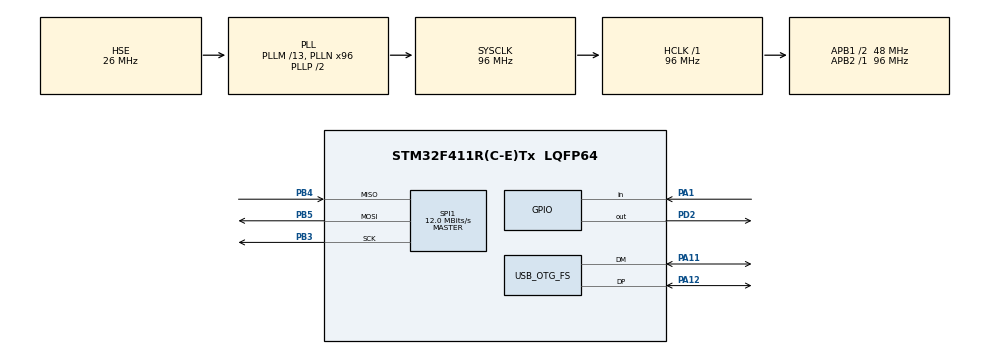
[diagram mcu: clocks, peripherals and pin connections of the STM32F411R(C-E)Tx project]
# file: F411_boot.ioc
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Mcu.Family=STM32F4
Mcu.Name=STM32F411R(C-E)Tx
Mcu.Package=LQFP64
NVIC.OTG_FS_IRQn=true\:0\:0\:false\:false\:true
NVIC.PriorityGroup=NVIC_PRIORITYGROUP_4
PA1.GPIO_PuPd=GPIO_PULLDOWN
PA1.Signal=GPIO_Input
PA11.Mode=Device_Only
PA11.Signal=USB_OTG_FS_DM
PA12.Mode=Device_Only
PA12.Signal=USB_OTG_FS_DP
PA13.Mode=Serial_Wire
PA13.Signal=SYS_JTMS-SWDIO
PA14.Mode=Serial_Wire
PA14.Signal=SYS_JTCK-SWCLK
PB3.Mode=Full_Duplex_Master
PB3.Signal=SPI1_SCK
PB4.Mode=Full_Duplex_Master
PB4.Signal=SPI1_MISO
PB5.Mode=Full_Duplex_Master
PB5.Signal=SPI1_MOSI
PD2.Signal=GPIO_Output
PH0\ -\ OSC_IN.Mode=HSE-External-Oscillator
PH0\ -\ OSC_IN.Signal=RCC_OSC_IN
PH1\ -\ OSC_OUT.Mode=HSE-External-Oscillator
PH1\ -\ OSC_OUT.Signal=RCC_OSC_OUT
ProjectManager.HeapSize=0x1200
ProjectManager.StackSize=0x1400
ProjectManager.TargetToolchain=MDK-ARM V5
RCC.48MHZClocksFreq_Value=48000000
RCC.AHBFreq_Value=96000000
RCC.APB1CLKDivider=RCC_HCLK_DIV2
RCC.APB1Freq_Value=48000000
RCC.APB1TimFreq_Value=96000000
RCC.APB2Freq_Value=96000000
RCC.APB2TimFreq_Value=96000000
RCC.CortexFreq_Value=96000000
RCC.HCLKFreq_Value=96000000
RCC.HSE_VALUE=26000000
RCC.HSI_VALUE=16000000
RCC.LSE_VALUE=32768
RCC.PLLM=13
RCC.PLLN=96
RCC.SYSCLKFreq_VALUE=96000000
RCC.SYSCLKSource=RCC_SYSCLKSOURCE_PLLCLK
RCC.VCOOutputFreq_Value=192000000
SPI1.BaudRatePrescaler=SPI_BAUDRATEPRESCALER_8
SPI1.CalculateBaudRate=12.0 MBits/s
SPI1.Mode=SPI_MODE_MASTER
USB_DEVICE.MSC_MEDIA_PACKET=4096
USB_DEVICE.USBD_HandleTypeDef=hUsbDeviceFS
USB_DEVICE.VirtualMode=Msc
USB_DEVICE.VirtualModeFS=Msc_FS
USB_OTG_FS.VirtualMode=Device_Only
USB_OTG_FS.vbus_sensing_enable=DISABLE
VP_CRC_VS_CRC.Mode=CRC_Activate
VP_USB_DEVICE_VS_USB_DEVICE_MSC_FS.Mode=MSC_FS
board=F411_boot

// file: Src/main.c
/**
  ******************************************************************************
  * File Name          : main.c
  * Description        : Main program body
  ******************************************************************************
  *
  * Copyright (c) 2016 STMicroelectronics International N.V.
  * All rights reserved.
  *
  * Redistribution and use in source and binary forms, with or without
  * modification, are permitted, provided that the following conditions are met:
  *
  * 1. Redistribution of source code must retain the above copyright notice,
  *    this list of conditions and the following disclaimer.
  * 2. Redistributions in binary form must reproduce the above copyright notice,
  *    this list of conditions and the following disclaimer in the documentation
  *    and/or other materials provided with the distribution.
  * 3. Neither the name of STMicroelectronics nor the names of other
  *    contributors to this software may be used to endorse or promote products
  *    derived from this software without specific written permission.
  * 4. This software, including modifications and/or derivative works of this
  *    software, must execute solely and exclusively on microcontroller or
  *    microprocessor devices manufactured by or for STMicroelectronics.
  * 5. Redistribution and use of this software other than as permitted under
  *    this license is void and will automatically terminate your rights under
  *    this license.
  *
  * THIS SOFTWARE IS PROVIDED BY STMICROELECTRONICS AND CONTRIBUTORS "AS IS"
  * AND ANY EXPRESS, IMPLIED OR STATUTORY WARRANTIES, INCLUDING, BUT NOT
  * LIMITED TO, THE IMPLIED WARRANTIES OF MERCHANTABILITY, FITNESS FOR A
  * PARTICULAR PURPOSE AND NON-INFRINGEMENT OF THIRD PARTY INTELLECTUAL PROPERTY
  * RIGHTS ARE DISCLAIMED TO THE FULLEST EXTENT PERMITTED BY LAW. IN NO EVENT
  * SHALL STMICROELECTRONICS OR CONTRIBUTORS BE LIABLE FOR ANY DIRECT, INDIRECT,
  * INCIDENTAL, SPECIAL, EXEMPLARY, OR CONSEQUENTIAL DAMAGES (INCLUDING, BUT NOT
  * LIMITED TO, PROCUREMENT OF SUBSTITUTE GOODS OR SERVICES; LOSS OF USE, DATA,
  * OR PROFITS; OR BUSINESS INTERRUPTION) HOWEVER CAUSED AND ON ANY THEORY OF
  * LIABILITY, WHETHER IN CONTRACT, STRICT LIABILITY, OR TORT (INCLUDING
  * NEGLIGENCE OR OTHERWISE) ARISING IN ANY WAY OUT OF THE USE OF THIS SOFTWARE,
  * EVEN IF ADVISED OF THE POSSIBILITY OF SUCH DAMAGE.
  *
  ******************************************************************************
  */
#include "main.h"
#include "stm32f4xx_hal.h"
#include "usb_device.h"

CRC_HandleTypeDef hcrc;

SPI_HandleTypeDef hspi1;

/* USER CODE BEGIN PV */
/* Private variables ---------------------------------------------------------*/
//volatile static const uint16_t compile_date[] = { 2016, 9, 12 };
volatile static const char compile_version[] = "2.2.4";
volatile static const char compile_date[12] = __DATE__;
volatile static const char compile_time[10] = __TIME__;
volatile static const char device_descriptor[] = { "BOOTER F411" };
#include "board.h"
#include "debug.h"
#include "ff.h"
FIL file_test;
FRESULT result;
FATFS FATFS_obj;
uint32_t str_size;
static const char file_patch[] = "ADC_RAW_DATA.bin";
char _str[128];
uint8_t ch[256] = {"HELL\r\n"};
uint32_t tmpu32 = 0;
UINT frcnt, fwcnt;         // счетчик записи файла
uint32_t ready_to_close = 0;
//for debug
uint32_t test_core_ticks_new, test_core_ticks_old = 0;
uint32_t test_total_time_remain = 0;

#define DRIVE_LABEL_OFFSET (0x2000)
uint8_t driveName[11] = "BOOT_LOADER";
uint32_t pageBuf[512];

/*
 * Variables for all file systems and file objects
 */
FRESULT	FATFS_Status = FR_NOT_READY, FILE_Status = FR_NO_FILE;
FATFS	FATFS_Obj;
UINT	readBytes;

/*
 * Variables for application file
 */
#define APP_BLOCK_TRANSFER_SIZE	512
FIL		appFile;
uint32_t appSize;
uint32_t		appBodySize, appTailSize, appAddrPointer;
uint8_t		appBuffer[APP_BLOCK_TRANSFER_SIZE];

uint32_t i, j, crc32;
uint8_t debugOut;
static const uint32_t AppCRC = 0x12345678;

/* USER CODE END PV */

void SystemClock_Config(void);
void Error_Handler(void);
static void MX_GPIO_Init(void);
static void MX_CRC_Init(void);
static void MX_SPI1_Init(void);

/* USER CODE BEGIN PFP */
/* Private function prototypes -----------------------------------------------*/

/* USER CODE END PFP */

/* USER CODE BEGIN 0 */

void GoToUserApp(void)
{
	uint32_t appJumpAddress;
	void (*GoToApp)(void);

	appJumpAddress = *((volatile uint32_t*)(FLASH_USER_START_ADDR + 4));
	GoToApp = (void (*)(void))appJumpAddress;
	SCB->VTOR = FLASH_USER_START_ADDR;
	__set_MSP(*((volatile uint32_t*) FLASH_USER_START_ADDR)); //stack pointer (to RAM) for USER app in this address
	GoToApp();
}

void CopyAppToUserMemory(void)
{
	f_lseek(&appFile, 0); //Go to the fist position of file

	appTailSize = appSize % APP_BLOCK_TRANSFER_SIZE;
	appBodySize = appSize - appTailSize;
	appAddrPointer = 0;
#if DEBUG
	if(debugOut == SET)
	{
		printf("File size = %d byte\r\nBody size = %d byte\r\nTail size = %d byte\r\n\r\n", appSize, appBodySize, appTailSize);
	}
#endif
	for(i = 0; i < ((appSize / FLASH_PAGE_SIZE) + 1); i++) //Erase n + 1 pages for new application
	{
		//while(FLASH_GetStatus() != FLASH_COMPLETE);
        if (HAL_OK != FLASH_WaitForLastOperation (1000))
        {
            while (1);
        }
		FLASH_Erase_Sector (FLASH_USER_START_ADDR + i * FLASH_PAGE_SIZE, FLASH_VOLTAGE_RANGE_3);
#if DEBUG
		if(debugOut == SET)
		{
			printf("Sector %3d (0x%08X - 0x%08X) erased\r\n", 	i,
																FLASH_USER_START_ADDR + i * FLASH_PAGE_SIZE,
																FLASH_USER_START_ADDR + (i + 1) * FLASH_PAGE_SIZE);
		}
#endif
	}
#if DEBUG
	if(debugOut == SET)
	{
		printf("\r\n");
	}
#endif
	for(i = 0; i < appBodySize; i += APP_BLOCK_TRANSFER_SIZE)
	{
		/*
		 * For example, size of File1 = 1030 bytes
		 * File1 = 2 * 512 bytes + 6 bytes
		 * "body" = 2 * 512, "tail" = 6
		 * Let's write "body" and "tail" to MCU FLASH byte after byte with 512-byte blocks
		 */
		FILE_Status = f_read (&appFile, appBuffer, APP_BLOCK_TRANSFER_SIZE, &readBytes); //Read 512 byte from file
#if DEBUG
		if(debugOut == SET)
		{
			printf("%d cycle, read status = %d, %d byte read\r\n", i / APP_BLOCK_TRANSFER_SIZE, FILE_Status, readBytes);
		}
#endif
		for(j = 0; j < APP_BLOCK_TRANSFER_SIZE; j += 4)
		{
			//while(FLASH_GetStatus() != FLASH_COMPLETE);
            if (HAL_OK != FLASH_WaitForLastOperation (1000))
            {
                while (1);
            }
//			FLASH_Program_Word (FLASH_USER_START_ADDR + i + j, *((volatile uint32_t*)(appBuffer + j))); //write 512 byte to FLASH
		}
#if DEBUG
		if(debugOut == SET)
		{
			printf("%d byte programmed: ", j);
			printf("0x%08X - 0x%08X\r\n",	FLASH_USER_START_ADDR + appAddrPointer,
											FLASH_USER_START_ADDR + appAddrPointer + APP_BLOCK_TRANSFER_SIZE);
		}
#endif
		appAddrPointer += APP_BLOCK_TRANSFER_SIZE; //pointer to current position in FLASH for write
	}

	FILE_Status = f_read(&appFile, appBuffer, appTailSize, &readBytes); //Read "tail" that < 512 bytes from file
#if DEBUG
	if(debugOut == SET)
	{
		printf("Tail read: read status = %d, %d byte read, size of tail = %d\r\n", FILE_Status, readBytes, appTailSize);
	}
#endif
	while((appTailSize % 4) != 0)		//if appTailSize MOD 4 != 0 (seems not possible, but still...)
	{
		appTailSize++;						//increase the tail to a multiple of 4
		appBuffer[appTailSize - 1] = 0xFF;	//and put 0xFF in this tail place
	}
#if DEBUG
	if(debugOut == SET)
	{
		printf("New size of tail = %d\r\n", appTailSize);
	}
#endif
	for(i = 0; i < appTailSize; i += 4)
	{
		//while(FLASH_GetStatus() != FLASH_COMPLETE);
        if (HAL_OK != FLASH_WaitForLastOperation (1000))
        {
            while (1);
        }
///		FLASH_Program_Word (FLASH_USER_START_ADDR + appAddrPointer + i, *((volatile uint32_t*)(appBuffer + i))); //write "tail" to FLASH
	}
#if DEBUG
	if(debugOut == SET)
	{
		printf("%d byte programmed: ", appTailSize);
		printf("0x%08X - 0x%08X\r\n", FLASH_USER_START_ADDR + appAddrPointer, FLASH_USER_START_ADDR + appAddrPointer + i);
		printf("\r\n");
	}
#endif
}

void PeriphDeInit(void)
{
	//RCC_AHBPeriphClockCmd(RCC_AHBPeriph_CRC, DISABLE);

#if DEBUG
	if(debugOut == SET)
	{
		//while (USART_GetFlagStatus(USART1, USART_FLAG_TC) == RESET) {}
		//USART_Cmd(USART1, DISABLE);
		//RCC_APB2PeriphResetCmd(USART1_CLK | USART1_CLK_PINS, DISABLE);
	}
#endif
    //HAL_PCD_MspDeInit ();
	//RCC_APB2PeriphClockCmd(BUTTON_CLK, DISABLE);
}

uint8_t halSPIFLASH_xspi (uint8_t byte)
{
    uint8_t tx_buf[4];
    uint8_t rx_buf[4];

    tx_buf [0] = byte;
    HAL_SPI_TransmitReceive (&hspi1, &tx_buf[0], &rx_buf[0], 1, 100);
    return rx_buf[0];

    while ((SPI1->SR & SPI_SR_TXE) == 0) {}; //wait for buffer NOT empty
    SPI1->DR =  byte;
    while ((SPI1->SR & SPI_SR_RXNE) == 0) { __NOP(); }; //wait for buffer empty
    byte = SPI1->DR;
    return byte;
}

void halSPIFLASH_spi_rd (uint8_t *buf, uint16_t len)
{
    HAL_SPI_Receive (&hspi1, &buf[0], len, 1000);
}

void halSPIFLASH_spi_wr (uint8_t *buf, uint16_t len)
{
    HAL_SPI_Transmit (&hspi1, &buf[0], len, 1000);
}

void halSPIFLASH_GPIO_SPI_init (void)
{
    //SPI1->CR1 |=  SPI_CR1_SPE; // enable the SPI peripheral
}

/* USER CODE END 0 */

int main(void)
{

  /* MCU Configuration----------------------------------------------------------*/

  /* Reset of all peripherals, Initializes the Flash interface and the Systick. */
  HAL_Init();

  /* Configure the system clock */
  SystemClock_Config();

  /* Initialize all configured peripherals */
  MX_GPIO_Init();
  MX_CRC_Init();
  MX_USB_DEVICE_Init();
  MX_SPI1_Init();

  /* USER CODE BEGIN 2 */
    debugOut = SET;
    //LED_BLUE_OFF;
    //SPIFLASH_ID = DBGMCU->IDCODE;

    if (0 == (GPIOA->IDR & GPIO_PIN_1)) //Bootloader or Mass Storage?
	{
		//LED_RGB_Config();
		//USB_Config();
		//Interrupts_Config();
		//USB_Init();
        GoToUserApp();
		while (1); {}
	}

#if DEBUG
	if(debugOut == SET)
	{
		printf("BOOTLOADER Mode...\r\n");
	}
#endif
	FATFS_Status = f_mount(&FATFS_Obj, "0", 1);
#if DEBUG
	if(debugOut == SET)
	{
		printf("FAT FS mount status = %d\r\n", FATFS_Status);
	}
#endif
	if(FATFS_Status == FR_OK)
	{
		FILE_Status = f_open(&appFile, "/APP.BIN", FA_READ);
#if DEBUG
		if(debugOut == SET)
		{
			printf("Application file open status = %d\r\n", FILE_Status);
		}
#endif
		if(FILE_Status == FR_OK)
		{
			appSize = f_size(&appFile);

			for(i = 0; i < appSize; i++) //Byte-to-byte compare files in MSD_MEM and USER_MEM
			{
				f_read(&appFile, &appBuffer, 1, &readBytes);

				if (*((volatile uint8_t*)(FLASH_USER_START_ADDR + i)) != appBuffer[0]) //if byte of USER_MEM != byte of MSD_MEM
				{
					break;
				}
			}

			if(i != appSize) //=> was done "break" instruction in for(;;) cycle => new firmware in MSD_FLASH
			{
#if DEBUG
				if(debugOut == SET)
				{
					printf("Difference between MSD_MEM and USER_MEM: %d byte from %d byte\r\n", i, appSize);
					printf("Start copy MSD_MEM to USER_MEM:\r\n\r\n");
				}
#endif
				CopyAppToUserMemory();
			}
			else
			{
#if DEBUG
				if(debugOut == SET)
				{
					printf("No difference between MSD_MEM and USER_MEM!\r\n");
				}
#endif
			}

			FILE_Status = f_close(&appFile);
#if DEBUG
			if(debugOut == SET)
			{
				printf("File close status = %d\r\n", FILE_Status);
			}
#endif
			FATFS_Status = f_mount(NULL, "0", 1);
#if DEBUG
			if(debugOut == SET)
			{
				printf("FAT FS unmount status = %d\r\n", FATFS_Status);
			}
#endif
			/*
			 * At last, check CRC of firmware, which is located in USER_MEM
			 */

			//CRC_ResetDR();
            crc32 = 0x00000000;
			for (i = 0; i < appSize; i += 4)
			{
                //AppCRC = CRC_CalcCRC(*((volatile uint32_t*)(FLASH_USER_START_ADDR + i)));
                uint8_t tmp8;
                tmp8 = *(uint8_t *)(uint32_t)(FLASH_USER_START_ADDR + i);
                crc32_CCITT_s ((uint32_t *)&crc32, &tmp8);
			}
#if DEBUG
			if(debugOut == SET)
			{
				printf("CRC of application in USER_FLASH = 0x%08X\r\n", AppCRC);
				printf("PeriphDeInit peripheral and jump to 0x%08X...\r\n", *((volatile uint32_t*)(FLASH_USER_START_ADDR + 4)));
			}
#endif
			PeriphDeInit();
			GoToUserApp();
		}
		else //if FILE_Status != FR_OK
		{
			if(FILE_Status == FR_NO_FILE)
			{
#if DEBUG
				if(debugOut == SET)
				{
					printf("ERROR: File not found in MSD_MEM\r\n");
				}
#endif
			}
			else //if FILE_Status != FR_NO_FILE
			{
#if DEBUG
				if(debugOut == SET)
				{
					printf("ERROR: Other error of file opening\r\n");
				}
#endif
			}
			FATFS_Status = f_mount(NULL, "0", 1);
#if DEBUG
			if(debugOut == SET)
			{
				printf("FAT FS unmount status = %d\r\n", FATFS_Status);
			}
#endif
			while (1) {};
		}
	}
	else //FATFS_Status != FR_OK
	{
#if DEBUG
		if(debugOut == SET)
		{
			printf("ERROR: FAT FS not mounted!\r\n");
		}
#endif
		while (1) {};
	}

  /* USER CODE END 2 */

  /* Infinite loop */
  while (1)
  {

  }

}

/** System Clock Configuration
*/
void SystemClock_Config(void)
{

  RCC_OscInitTypeDef RCC_OscInitStruct;
  RCC_ClkInitTypeDef RCC_ClkInitStruct;

    /**Configure the main internal regulator output voltage
    */
  __HAL_RCC_PWR_CLK_ENABLE();

  __HAL_PWR_VOLTAGESCALING_CONFIG(PWR_REGULATOR_VOLTAGE_SCALE1);

    /**Initializes the CPU, AHB and APB busses clocks
    */
  RCC_OscInitStruct.OscillatorType = RCC_OSCILLATORTYPE_HSE;
  RCC_OscInitStruct.HSEState = RCC_HSE_ON;
  RCC_OscInitStruct.PLL.PLLState = RCC_PLL_ON;
  RCC_OscInitStruct.PLL.PLLSource = RCC_PLLSOURCE_HSE;
  RCC_OscInitStruct.PLL.PLLM = 13;
  RCC_OscInitStruct.PLL.PLLN = 96;
  RCC_OscInitStruct.PLL.PLLP = RCC_PLLP_DIV2;
  RCC_OscInitStruct.PLL.PLLQ = 4;
  if (HAL_RCC_OscConfig(&RCC_OscInitStruct) != HAL_OK)
  {
    Error_Handler();
  }

    /**Initializes the CPU, AHB and APB busses clocks
    */
  RCC_ClkInitStruct.ClockType = RCC_CLOCKTYPE_HCLK|RCC_CLOCKTYPE_SYSCLK
                              |RCC_CLOCKTYPE_PCLK1|RCC_CLOCKTYPE_PCLK2;
  RCC_ClkInitStruct.SYSCLKSource = RCC_SYSCLKSOURCE_PLLCLK;
  RCC_ClkInitStruct.AHBCLKDivider = RCC_SYSCLK_DIV1;
  RCC_ClkInitStruct.APB1CLKDivider = RCC_HCLK_DIV2;
  RCC_ClkInitStruct.APB2CLKDivider = RCC_HCLK_DIV1;

  if (HAL_RCC_ClockConfig(&RCC_ClkInitStruct, FLASH_LATENCY_3) != HAL_OK)
  {
    Error_Handler();
  }

    /**Configure the Systick interrupt time
    */
  HAL_SYSTICK_Config(HAL_RCC_GetHCLKFreq()/1000);

    /**Configure the Systick
    */
  HAL_SYSTICK_CLKSourceConfig(SYSTICK_CLKSOURCE_HCLK);

  /* SysTick_IRQn interrupt configuration */
  HAL_NVIC_SetPriority(SysTick_IRQn, 0, 0);
}

/* CRC init function */
static void MX_CRC_Init(void)
{

  hcrc.Instance = CRC;
  if (HAL_CRC_Init(&hcrc) != HAL_OK)
  {
    Error_Handler();
  }

}

/* SPI1 init function */
static void MX_SPI1_Init(void)
{

  hspi1.Instance = SPI1;
  hspi1.Init.Mode = SPI_MODE_MASTER;
  hspi1.Init.Direction = SPI_DIRECTION_2LINES;
  hspi1.Init.DataSize = SPI_DATASIZE_8BIT;
  hspi1.Init.CLKPolarity = SPI_POLARITY_LOW;
  hspi1.Init.CLKPhase = SPI_PHASE_1EDGE;
  hspi1.Init.NSS = SPI_NSS_SOFT;
  hspi1.Init.BaudRatePrescaler = SPI_BAUDRATEPRESCALER_8;
  hspi1.Init.FirstBit = SPI_FIRSTBIT_MSB;
  hspi1.Init.TIMode = SPI_TIMODE_DISABLE;
  hspi1.Init.CRCCalculation = SPI_CRCCALCULATION_DISABLE;
  hspi1.Init.CRCPolynomial = 10;
  if (HAL_SPI_Init(&hspi1) != HAL_OK)
  {
    Error_Handler();
  }

}

/** Configure pins as
        * Analog
        * Input
        * Output
        * EVENT_OUT
        * EXTI
*/
static void MX_GPIO_Init(void)
{

  GPIO_InitTypeDef GPIO_InitStruct;

  /* GPIO Ports Clock Enable */
  __HAL_RCC_GPIOH_CLK_ENABLE();
  __HAL_RCC_GPIOA_CLK_ENABLE();
  __HAL_RCC_GPIOD_CLK_ENABLE();
  __HAL_RCC_GPIOB_CLK_ENABLE();

  /*Configure GPIO pin : PA1 */
  GPIO_InitStruct.Pin = GPIO_PIN_1;
  GPIO_InitStruct.Mode = GPIO_MODE_INPUT;
  GPIO_InitStruct.Pull = GPIO_PULLDOWN;
  HAL_GPIO_Init(GPIOA, &GPIO_InitStruct);

  /*Configure GPIO pin : PD2 */
  GPIO_InitStruct.Pin = GPIO_PIN_2;
  GPIO_InitStruct.Mode = GPIO_MODE_OUTPUT_PP;
  GPIO_InitStruct.Pull = GPIO_NOPULL;
  GPIO_InitStruct.Speed = GPIO_SPEED_FREQ_LOW;
  HAL_GPIO_Init(GPIOD, &GPIO_InitStruct);

  /*Configure GPIO pin Output Level */
  HAL_GPIO_WritePin(GPIOD, GPIO_PIN_2, GPIO_PIN_RESET);

}

void Error_Handler(void)
{
  while(1)
  {
  }
}

/************************ (C) COPYRIGHT STMicroelectronics *****END OF FILE****/
